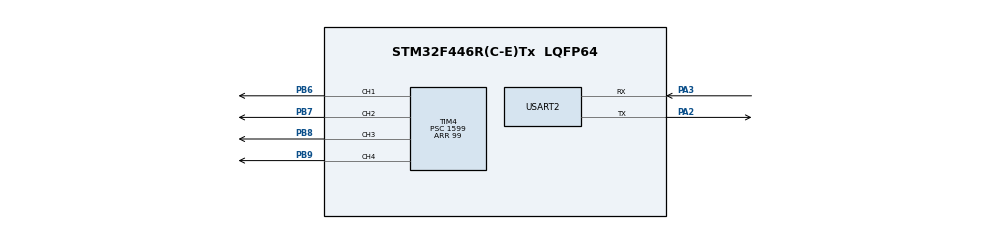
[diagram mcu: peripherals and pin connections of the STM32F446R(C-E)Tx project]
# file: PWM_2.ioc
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Mcu.Family=STM32F4
Mcu.Name=STM32F446R(C-E)Tx
Mcu.Package=LQFP64
NVIC.PriorityGroup=NVIC_PRIORITYGROUP_4
PA13.Mode=Trace_Asynchronous_SW
PA13.Signal=SYS_JTMS-SWDIO
PA14.Mode=Trace_Asynchronous_SW
PA14.Signal=SYS_JTCK-SWCLK
PA2.Mode=Asynchronous
PA2.Signal=USART2_TX
PA3.Mode=Asynchronous
PA3.Signal=USART2_RX
PB3.Mode=Trace_Asynchronous_SW
PB3.Signal=SYS_JTDO-SWO
PB6.Signal=S_TIM4_CH1
PB7.Signal=S_TIM4_CH2
PB8.Signal=S_TIM4_CH3
PB9.Signal=S_TIM4_CH4
ProjectManager.HeapSize=0x200
ProjectManager.StackSize=0x400
ProjectManager.TargetToolchain=CMake
RCC.CortexFreq_Value=16000000
RCC.USBFreq_Value=96000000
RCC.VCOOutputFreq_Value=192000000
SH.S_TIM4_CH1.0=TIM4_CH1,PWM Generation1 CH1
SH.S_TIM4_CH2.0=TIM4_CH2,PWM Generation2 CH2
SH.S_TIM4_CH3.0=TIM4_CH3,PWM Generation3 CH3
SH.S_TIM4_CH4.0=TIM4_CH4,PWM Generation4 CH4
TIM4.Channel-PWM\ Generation1\ CH1=TIM_CHANNEL_1
TIM4.Channel-PWM\ Generation2\ CH2=TIM_CHANNEL_2
TIM4.Channel-PWM\ Generation3\ CH3=TIM_CHANNEL_3
TIM4.Channel-PWM\ Generation4\ CH4=TIM_CHANNEL_4
TIM4.OCPolarity_1=TIM_OCPOLARITY_HIGH
TIM4.OCPolarity_2=TIM_OCPOLARITY_LOW
TIM4.OCPolarity_3=TIM_OCPOLARITY_LOW
TIM4.OCPolarity_4=TIM_OCPOLARITY_LOW
TIM4.Period=99
TIM4.Prescaler=1599
USART2.VirtualMode=VM_ASYNC
VP_TIM4_VS_ClockSourceINT.Mode=Internal
board=custom

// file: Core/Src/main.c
/* USER CODE BEGIN Header */
/**
  ******************************************************************************
  * @file           : main.c
  * @brief          : Main program body
  ******************************************************************************
  * @attention
  *
  * Copyright (c) 2025 STMicroelectronics.
  * All rights reserved.
  *
  * This software is licensed under terms that can be found in the LICENSE file
  * in the root directory of this software component.
  * If no LICENSE file comes with this software, it is provided AS-IS.
  *
  ******************************************************************************
  */
/* USER CODE END Header */
#include "main.h"

/* USER CODE BEGIN Includes */
#include <stdio.h>
/* USER CODE END Includes */

TIM_HandleTypeDef htim4;

UART_HandleTypeDef huart2;

void SystemClock_Config(void);
static void MX_GPIO_Init(void);
static void MX_TIM4_Init(void);
static void MX_USART2_UART_Init(void);

/* USER CODE BEGIN 0 */
// Send printf to uart1
int _write(int fd, char* ptr, int len) {
  HAL_StatusTypeDef hstatus;

  if (fd == 1 || fd == 2) {
    hstatus = HAL_UART_Transmit(&huart2, (uint8_t *) ptr, len, HAL_MAX_DELAY);
    if (hstatus == HAL_OK)
      return len;
    else
      return -1;
  }
  return -1;
}
/* USER CODE END 0 */

int main(void)
{

  /* MCU Configuration--------------------------------------------------------*/

  /* Reset of all peripherals, Initializes the Flash interface and the Systick. */
  HAL_Init();

  /* Configure the system clock */
  SystemClock_Config();

  /* Initialize all configured peripherals */
  MX_GPIO_Init();
  MX_TIM4_Init();
  MX_USART2_UART_Init();
  /* USER CODE BEGIN 2 */
  printf("Board Starting\n");
  // Init all timers
  HAL_TIM_PWM_Start(&htim4, TIM_CHANNEL_1);
  HAL_TIM_PWM_Start(&htim4, TIM_CHANNEL_2);
  HAL_TIM_PWM_Start(&htim4, TIM_CHANNEL_3);
  HAL_TIM_PWM_Start(&htim4, TIM_CHANNEL_4);

  /* USER CODE END 2 */

  /* Infinite loop */
  /* USER CODE BEGIN WHILE */
  uint16_t pwm_value = 0;
  int8_t pwm_change = 1;
  uint32_t now = 0, next_tick = 1000, loop_count = 0, next_change = 0;
  while (1)
  {
    // Get Tick directly
    now = uwTick;
    if(now >= next_tick)
    {
      printf("Tick %lu (loop = %lu)\n", now/1000, loop_count);
      loop_count = 0;
      next_tick = now + 1000;
    }

    if(now >= next_change)
    {
      printf("PWM Value = %lu\n", pwm_value);
      // Change the PWM Pulse value
      __HAL_TIM_SET_COMPARE(&htim4, TIM_CHANNEL_1, pwm_value);
      __HAL_TIM_SET_COMPARE(&htim4, TIM_CHANNEL_2, 100-pwm_value);
      __HAL_TIM_SET_COMPARE(&htim4, TIM_CHANNEL_3, pwm_value);
      __HAL_TIM_SET_COMPARE(&htim4, TIM_CHANNEL_4, 100-pwm_value);
      // Update pwm_value to current value + pwm_change
      pwm_value += pwm_change;

      // If the pwm is zero, then update the rate to positive 1
      if(pwm_value == 0) pwm_change = 1;
      // If the pwm is 100, then update the rate to negative 1
      if(pwm_value == 100) pwm_change = -1;

      next_change = now + 50;
    }
    loop_count++;
    /* USER CODE END WHILE */

  }
}

void SystemClock_Config(void)
{
  RCC_OscInitTypeDef RCC_OscInitStruct = {0};
  RCC_ClkInitTypeDef RCC_ClkInitStruct = {0};

  /** Configure the main internal regulator output voltage
  */
  __HAL_RCC_PWR_CLK_ENABLE();
  __HAL_PWR_VOLTAGESCALING_CONFIG(PWR_REGULATOR_VOLTAGE_SCALE3);

  /** Initializes the RCC Oscillators according to the specified parameters
  * in the RCC_OscInitTypeDef structure.
  */
  RCC_OscInitStruct.OscillatorType = RCC_OSCILLATORTYPE_HSI;
  RCC_OscInitStruct.HSIState = RCC_HSI_ON;
  RCC_OscInitStruct.HSICalibrationValue = RCC_HSICALIBRATION_DEFAULT;
  RCC_OscInitStruct.PLL.PLLState = RCC_PLL_NONE;
  if (HAL_RCC_OscConfig(&RCC_OscInitStruct) != HAL_OK)
  {
    Error_Handler();
  }

  /** Initializes the CPU, AHB and APB buses clocks
  */
  RCC_ClkInitStruct.ClockType = RCC_CLOCKTYPE_HCLK|RCC_CLOCKTYPE_SYSCLK
                              |RCC_CLOCKTYPE_PCLK1|RCC_CLOCKTYPE_PCLK2;
  RCC_ClkInitStruct.SYSCLKSource = RCC_SYSCLKSOURCE_HSI;
  RCC_ClkInitStruct.AHBCLKDivider = RCC_SYSCLK_DIV1;
  RCC_ClkInitStruct.APB1CLKDivider = RCC_HCLK_DIV1;
  RCC_ClkInitStruct.APB2CLKDivider = RCC_HCLK_DIV1;

  if (HAL_RCC_ClockConfig(&RCC_ClkInitStruct, FLASH_LATENCY_0) != HAL_OK)
  {
    Error_Handler();
  }
}

static void MX_TIM4_Init(void)
{

  TIM_ClockConfigTypeDef sClockSourceConfig = {0};
  TIM_MasterConfigTypeDef sMasterConfig = {0};
  TIM_OC_InitTypeDef sConfigOC = {0};

  htim4.Instance = TIM4;
  htim4.Init.Prescaler = 1599;
  htim4.Init.CounterMode = TIM_COUNTERMODE_UP;
  htim4.Init.Period = 99;
  htim4.Init.ClockDivision = TIM_CLOCKDIVISION_DIV1;
  htim4.Init.AutoReloadPreload = TIM_AUTORELOAD_PRELOAD_DISABLE;
  if (HAL_TIM_Base_Init(&htim4) != HAL_OK)
  {
    Error_Handler();
  }
  sClockSourceConfig.ClockSource = TIM_CLOCKSOURCE_INTERNAL;
  if (HAL_TIM_ConfigClockSource(&htim4, &sClockSourceConfig) != HAL_OK)
  {
    Error_Handler();
  }
  if (HAL_TIM_PWM_Init(&htim4) != HAL_OK)
  {
    Error_Handler();
  }
  sMasterConfig.MasterOutputTrigger = TIM_TRGO_RESET;
  sMasterConfig.MasterSlaveMode = TIM_MASTERSLAVEMODE_DISABLE;
  if (HAL_TIMEx_MasterConfigSynchronization(&htim4, &sMasterConfig) != HAL_OK)
  {
    Error_Handler();
  }
  sConfigOC.OCMode = TIM_OCMODE_PWM1;
  sConfigOC.Pulse = 0;
  sConfigOC.OCPolarity = TIM_OCPOLARITY_HIGH;
  sConfigOC.OCFastMode = TIM_OCFAST_DISABLE;
  if (HAL_TIM_PWM_ConfigChannel(&htim4, &sConfigOC, TIM_CHANNEL_1) != HAL_OK)
  {
    Error_Handler();
  }
  sConfigOC.OCPolarity = TIM_OCPOLARITY_LOW;
  if (HAL_TIM_PWM_ConfigChannel(&htim4, &sConfigOC, TIM_CHANNEL_2) != HAL_OK)
  {
    Error_Handler();
  }
  if (HAL_TIM_PWM_ConfigChannel(&htim4, &sConfigOC, TIM_CHANNEL_3) != HAL_OK)
  {
    Error_Handler();
  }
  if (HAL_TIM_PWM_ConfigChannel(&htim4, &sConfigOC, TIM_CHANNEL_4) != HAL_OK)
  {
    Error_Handler();
  }
  HAL_TIM_MspPostInit(&htim4);

}

static void MX_USART2_UART_Init(void)
{

  huart2.Instance = USART2;
  huart2.Init.BaudRate = 115200;
  huart2.Init.WordLength = UART_WORDLENGTH_8B;
  huart2.Init.StopBits = UART_STOPBITS_1;
  huart2.Init.Parity = UART_PARITY_NONE;
  huart2.Init.Mode = UART_MODE_TX_RX;
  huart2.Init.HwFlowCtl = UART_HWCONTROL_NONE;
  huart2.Init.OverSampling = UART_OVERSAMPLING_16;
  if (HAL_UART_Init(&huart2) != HAL_OK)
  {
    Error_Handler();
  }

}

static void MX_GPIO_Init(void)
{

  /* GPIO Ports Clock Enable */
  __HAL_RCC_GPIOA_CLK_ENABLE();
  __HAL_RCC_GPIOB_CLK_ENABLE();

}

void Error_Handler(void)
{
  __disable_irq();
  while (1)
  {
  }
}
